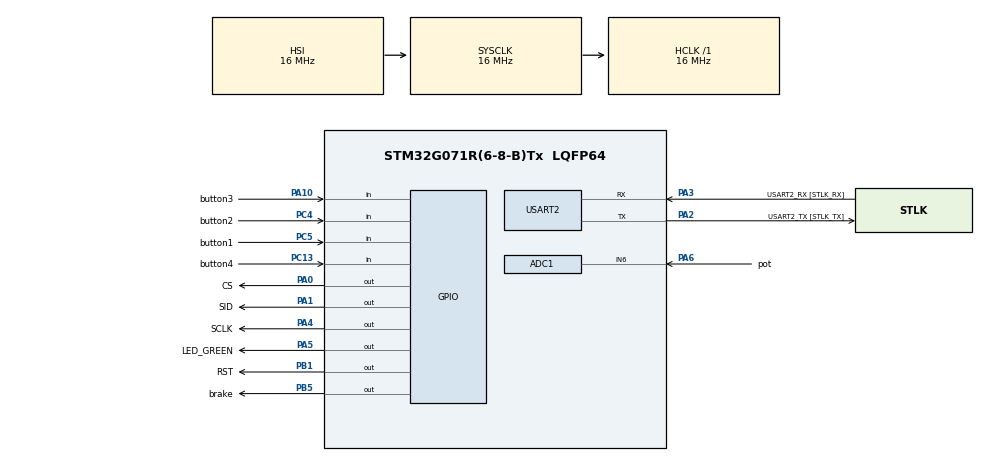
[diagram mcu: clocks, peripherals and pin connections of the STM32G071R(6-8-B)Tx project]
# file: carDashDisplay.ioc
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ADC1.Channel-1\#ChannelRegularConversion=ADC_CHANNEL_6
ADC1.NbrOfConversionFlag=1
ADC1.Rank-1\#ChannelRegularConversion=1
ADC1.SamplingTime-1\#ChannelRegularConversion=ADC_SAMPLINGTIME_COMMON_1
ADC1.SelectedChannel=ADC_CHANNEL_6
ADC1.master=1
Mcu.Family=STM32G0
Mcu.Name=STM32G071R(6-8-B)Tx
Mcu.Package=LQFP64
PA0.GPIO_Label=CS
PA0.Signal=GPIO_Output
PA1.GPIO_Label=SID
PA1.Signal=GPIO_Output
PA10.GPIO_Label=button3
PA10.GPIO_PuPd=GPIO_PULLDOWN
PA10.Signal=GPIO_Input
PA13.GPIO_Label=TMS
PA13.Mode=Serial_Wire
PA13.Signal=SYS_SWDIO
PA14-BOOT0.GPIO_Label=TCK
PA14-BOOT0.Mode=Serial_Wire
PA14-BOOT0.Signal=SYS_SWCLK
PA2.GPIO_Label=USART2_TX [STLK_TX]
PA2.GPIO_PuPd=GPIO_PULLUP
PA2.Mode=Asynchronous
PA2.Signal=USART2_TX
PA3.GPIO_Label=USART2_RX [STLK_RX]
PA3.GPIO_PuPd=GPIO_PULLUP
PA3.Mode=Asynchronous
PA3.Signal=USART2_RX
PA4.GPIO_Label=SCLK
PA4.Signal=GPIO_Output
PA5.GPIO_Label=LED_GREEN
PA5.GPIO_Speed=GPIO_SPEED_FREQ_HIGH
PA5.Signal=GPIO_Output
PA6.GPIO_Label=pot
PA6.Mode=IN6
PA6.Signal=ADC1_IN6
PB1.GPIO_Label=RST
PB1.Signal=GPIO_Output
PB5.GPIO_Label=brake
PB5.Signal=GPIO_Output
PC13.GPIO_Label=button4
PC13.GPIO_PuPd=GPIO_PULLDOWN
PC13.Signal=GPIO_Input
PC14-OSC32_IN\ (PC14).Mode=LSE-External-Oscillator
PC14-OSC32_IN\ (PC14).Signal=RCC_OSC32_IN
PC15-OSC32_OUT\ (PC15).Mode=LSE-External-Oscillator
PC15-OSC32_OUT\ (PC15).Signal=RCC_OSC32_OUT
PC4.GPIO_Label=button2
PC4.GPIO_PuPd=GPIO_PULLDOWN
PC4.Signal=GPIO_Input
PC5.GPIO_Label=button1
PC5.GPIO_PuPd=GPIO_PULLDOWN
PC5.Signal=GPIO_Input
PF0-OSC_IN\ (PF0).GPIO_Label=MCO
PF0-OSC_IN\ (PF0).Mode=HSE-External-Clock-Source
PF0-OSC_IN\ (PF0).Signal=RCC_OSC_IN
ProjectManager.HeapSize=0x200
ProjectManager.StackSize=0x400
ProjectManager.TargetToolchain=STM32CubeIDE
RCC.AHBFreq_Value=16000000
RCC.CortexFreq_Value=16000000
RCC.EXTERNAL_CLOCK_VALUE=12288000
RCC.HCLKFreq_Value=16000000
RCC.HSE_VALUE=8000000
RCC.HSI_VALUE=16000000
RCC.SYSCLKFreq_VALUE=16000000
RCC.VCOOutputFreq_Value=128000000
TIM1.Prescaler=16-1
USART2.VirtualMode-Asynchronous=VM_ASYNC
VP_SYS_VS_DBSignals.Mode=DisableDeadBatterySignals
VP_TIM1_VS_ClockSourceINT.Mode=Internal
board=NUCLEO-G071RB

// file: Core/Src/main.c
/* USER CODE BEGIN Header */
/**
  ******************************************************************************
  * @file           : main.c
  * @brief          : Main program body
  ******************************************************************************
  * @attention
  *
  * Copyright (c) 2024 STMicroelectronics.
  * All rights reserved.
  *
  * This software is licensed under terms that can be found in the LICENSE file
  * in the root directory of this software component.
  * If no LICENSE file comes with this software, it is provided AS-IS.
  *
  ******************************************************************************
  */
/* USER CODE END Header */
#include "main.h"

/* USER CODE BEGIN Includes */
#include <string.h>
#include <stdio.h>

#include "ST7920LCD.h"
#include "bitmap.h"

/* USER CODE END Includes */

ADC_HandleTypeDef hadc1;

TIM_HandleTypeDef htim1;

UART_HandleTypeDef huart2;

void SystemClock_Config(void);
static void MX_GPIO_Init(void);
static void MX_USART2_UART_Init(void);
static void MX_ADC1_Init(void);
static void MX_TIM1_Init(void);
/* USER CODE BEGIN PFP */

	/* USER DEFINED PROTOTYPES */
	void stateHandler(int state);
	void buttonListener();

	void brakeLightControl();
	void steeringControl();
	void assiControl();
	void displayControl();

	int myMap(int x, int in_min, int in_max, int out_min, int out_max);
	int getAdcFromPot();

	/* DISPLAY CONTROL PROTOTYPES */
	void initDisplay();
	void lcdStartAnimation();
	void debugSteer();

/* USER CODE END PFP */

/* USER CODE BEGIN 0 */

	/* USER DEFINED VARIABLES */
	char msg[60];		// UART Message Buffer

	int state;			// State machine context

/* USER CODE END 0 */

int main(void)
{

  /* MCU Configuration--------------------------------------------------------*/

  /* Reset of all peripherals, Initializes the Flash interface and the Systick. */
  HAL_Init();

  /* Configure the system clock */
  SystemClock_Config();

  /* Initialize all configured peripherals */
  MX_GPIO_Init();
  MX_USART2_UART_Init();
  MX_ADC1_Init();
  MX_TIM1_Init();
  /* USER CODE BEGIN 2 */

  initDisplay();
  lcdStartAnimation();

  /* USER CODE END 2 */

  /* Infinite loop */
  /* USER CODE BEGIN WHILE */
  while (1)
  {

	  buttonListener();
	  stateHandler(state);

	  sprintf(msg, "ADC: %d\r\n", getAdcFromPot());
	  HAL_UART_Transmit(&huart2, (uint8_t*) msg, strlen(msg), HAL_MAX_DELAY);

	  debugSteer();

    /* USER CODE END WHILE */

  }
}

void SystemClock_Config(void)
{
  RCC_OscInitTypeDef RCC_OscInitStruct = {0};
  RCC_ClkInitTypeDef RCC_ClkInitStruct = {0};

  /** Configure the main internal regulator output voltage
  */
  HAL_PWREx_ControlVoltageScaling(PWR_REGULATOR_VOLTAGE_SCALE1);

  /** Initializes the RCC Oscillators according to the specified parameters
  * in the RCC_OscInitTypeDef structure.
  */
  RCC_OscInitStruct.OscillatorType = RCC_OSCILLATORTYPE_HSI;
  RCC_OscInitStruct.HSIState = RCC_HSI_ON;
  RCC_OscInitStruct.HSIDiv = RCC_HSI_DIV1;
  RCC_OscInitStruct.HSICalibrationValue = RCC_HSICALIBRATION_DEFAULT;
  RCC_OscInitStruct.PLL.PLLState = RCC_PLL_NONE;
  if (HAL_RCC_OscConfig(&RCC_OscInitStruct) != HAL_OK)
  {
    Error_Handler();
  }

  /** Initializes the CPU, AHB and APB buses clocks
  */
  RCC_ClkInitStruct.ClockType = RCC_CLOCKTYPE_HCLK|RCC_CLOCKTYPE_SYSCLK
                              |RCC_CLOCKTYPE_PCLK1;
  RCC_ClkInitStruct.SYSCLKSource = RCC_SYSCLKSOURCE_HSI;
  RCC_ClkInitStruct.AHBCLKDivider = RCC_SYSCLK_DIV1;
  RCC_ClkInitStruct.APB1CLKDivider = RCC_HCLK_DIV1;

  if (HAL_RCC_ClockConfig(&RCC_ClkInitStruct, FLASH_LATENCY_0) != HAL_OK)
  {
    Error_Handler();
  }
}

static void MX_ADC1_Init(void)
{

  ADC_ChannelConfTypeDef sConfig = {0};

  /** Configure the global features of the ADC (Clock, Resolution, Data Alignment and number of conversion)
  */
  hadc1.Instance = ADC1;
  hadc1.Init.ClockPrescaler = ADC_CLOCK_SYNC_PCLK_DIV2;
  hadc1.Init.Resolution = ADC_RESOLUTION_12B;
  hadc1.Init.DataAlign = ADC_DATAALIGN_RIGHT;
  hadc1.Init.ScanConvMode = ADC_SCAN_DISABLE;
  hadc1.Init.EOCSelection = ADC_EOC_SINGLE_CONV;
  hadc1.Init.LowPowerAutoWait = DISABLE;
  hadc1.Init.LowPowerAutoPowerOff = DISABLE;
  hadc1.Init.ContinuousConvMode = DISABLE;
  hadc1.Init.NbrOfConversion = 1;
  hadc1.Init.DiscontinuousConvMode = DISABLE;
  hadc1.Init.ExternalTrigConv = ADC_SOFTWARE_START;
  hadc1.Init.ExternalTrigConvEdge = ADC_EXTERNALTRIGCONVEDGE_NONE;
  hadc1.Init.DMAContinuousRequests = DISABLE;
  hadc1.Init.Overrun = ADC_OVR_DATA_PRESERVED;
  hadc1.Init.SamplingTimeCommon1 = ADC_SAMPLETIME_1CYCLE_5;
  hadc1.Init.SamplingTimeCommon2 = ADC_SAMPLETIME_1CYCLE_5;
  hadc1.Init.OversamplingMode = DISABLE;
  hadc1.Init.TriggerFrequencyMode = ADC_TRIGGER_FREQ_HIGH;
  if (HAL_ADC_Init(&hadc1) != HAL_OK)
  {
    Error_Handler();
  }

  /** Configure Regular Channel
  */
  sConfig.Channel = ADC_CHANNEL_6;
  sConfig.Rank = ADC_REGULAR_RANK_1;
  sConfig.SamplingTime = ADC_SAMPLINGTIME_COMMON_1;
  if (HAL_ADC_ConfigChannel(&hadc1, &sConfig) != HAL_OK)
  {
    Error_Handler();
  }

}

static void MX_TIM1_Init(void)
{

  TIM_ClockConfigTypeDef sClockSourceConfig = {0};
  TIM_MasterConfigTypeDef sMasterConfig = {0};

  htim1.Instance = TIM1;
  htim1.Init.Prescaler = 16-1;
  htim1.Init.CounterMode = TIM_COUNTERMODE_UP;
  htim1.Init.Period = 65535;
  htim1.Init.ClockDivision = TIM_CLOCKDIVISION_DIV1;
  htim1.Init.RepetitionCounter = 0;
  htim1.Init.AutoReloadPreload = TIM_AUTORELOAD_PRELOAD_DISABLE;
  if (HAL_TIM_Base_Init(&htim1) != HAL_OK)
  {
    Error_Handler();
  }
  sClockSourceConfig.ClockSource = TIM_CLOCKSOURCE_INTERNAL;
  if (HAL_TIM_ConfigClockSource(&htim1, &sClockSourceConfig) != HAL_OK)
  {
    Error_Handler();
  }
  sMasterConfig.MasterOutputTrigger = TIM_TRGO_RESET;
  sMasterConfig.MasterOutputTrigger2 = TIM_TRGO2_RESET;
  sMasterConfig.MasterSlaveMode = TIM_MASTERSLAVEMODE_DISABLE;
  if (HAL_TIMEx_MasterConfigSynchronization(&htim1, &sMasterConfig) != HAL_OK)
  {
    Error_Handler();
  }

}

static void MX_USART2_UART_Init(void)
{

  huart2.Instance = USART2;
  huart2.Init.BaudRate = 115200;
  huart2.Init.WordLength = UART_WORDLENGTH_8B;
  huart2.Init.StopBits = UART_STOPBITS_1;
  huart2.Init.Parity = UART_PARITY_NONE;
  huart2.Init.Mode = UART_MODE_TX_RX;
  huart2.Init.HwFlowCtl = UART_HWCONTROL_NONE;
  huart2.Init.OverSampling = UART_OVERSAMPLING_16;
  huart2.Init.OneBitSampling = UART_ONE_BIT_SAMPLE_DISABLE;
  huart2.Init.ClockPrescaler = UART_PRESCALER_DIV1;
  huart2.AdvancedInit.AdvFeatureInit = UART_ADVFEATURE_NO_INIT;
  if (HAL_UART_Init(&huart2) != HAL_OK)
  {
    Error_Handler();
  }
  if (HAL_UARTEx_SetTxFifoThreshold(&huart2, UART_TXFIFO_THRESHOLD_1_8) != HAL_OK)
  {
    Error_Handler();
  }
  if (HAL_UARTEx_SetRxFifoThreshold(&huart2, UART_RXFIFO_THRESHOLD_1_8) != HAL_OK)
  {
    Error_Handler();
  }
  if (HAL_UARTEx_DisableFifoMode(&huart2) != HAL_OK)
  {
    Error_Handler();
  }

}

static void MX_GPIO_Init(void)
{
  GPIO_InitTypeDef GPIO_InitStruct = {0};

  /* GPIO Ports Clock Enable */
  __HAL_RCC_GPIOC_CLK_ENABLE();
  __HAL_RCC_GPIOF_CLK_ENABLE();
  __HAL_RCC_GPIOA_CLK_ENABLE();
  __HAL_RCC_GPIOB_CLK_ENABLE();

  /*Configure GPIO pin Output Level */
  HAL_GPIO_WritePin(GPIOA, CS_Pin|SID_Pin|SCLK_Pin|LED_GREEN_Pin, GPIO_PIN_RESET);

  /*Configure GPIO pin Output Level */
  HAL_GPIO_WritePin(GPIOB, RST_Pin|brake_Pin, GPIO_PIN_RESET);

  /*Configure GPIO pins : button4_Pin button2_Pin button1_Pin */
  GPIO_InitStruct.Pin = button4_Pin|button2_Pin|button1_Pin;
  GPIO_InitStruct.Mode = GPIO_MODE_INPUT;
  GPIO_InitStruct.Pull = GPIO_PULLDOWN;
  HAL_GPIO_Init(GPIOC, &GPIO_InitStruct);

  /*Configure GPIO pins : CS_Pin SID_Pin SCLK_Pin */
  GPIO_InitStruct.Pin = CS_Pin|SID_Pin|SCLK_Pin;
  GPIO_InitStruct.Mode = GPIO_MODE_OUTPUT_PP;
  GPIO_InitStruct.Pull = GPIO_NOPULL;
  GPIO_InitStruct.Speed = GPIO_SPEED_FREQ_LOW;
  HAL_GPIO_Init(GPIOA, &GPIO_InitStruct);

  /*Configure GPIO pin : LED_GREEN_Pin */
  GPIO_InitStruct.Pin = LED_GREEN_Pin;
  GPIO_InitStruct.Mode = GPIO_MODE_OUTPUT_PP;
  GPIO_InitStruct.Pull = GPIO_NOPULL;
  GPIO_InitStruct.Speed = GPIO_SPEED_FREQ_HIGH;
  HAL_GPIO_Init(LED_GREEN_GPIO_Port, &GPIO_InitStruct);

  /*Configure GPIO pins : RST_Pin brake_Pin */
  GPIO_InitStruct.Pin = RST_Pin|brake_Pin;
  GPIO_InitStruct.Mode = GPIO_MODE_OUTPUT_PP;
  GPIO_InitStruct.Pull = GPIO_NOPULL;
  GPIO_InitStruct.Speed = GPIO_SPEED_FREQ_LOW;
  HAL_GPIO_Init(GPIOB, &GPIO_InitStruct);

  /*Configure GPIO pin : button3_Pin */
  GPIO_InitStruct.Pin = button3_Pin;
  GPIO_InitStruct.Mode = GPIO_MODE_INPUT;
  GPIO_InitStruct.Pull = GPIO_PULLDOWN;
  HAL_GPIO_Init(button3_GPIO_Port, &GPIO_InitStruct);

}

/* USER CODE BEGIN 4 */

	/* USER DEFINED FUNCTIONS */

	/* State Control Functions */

	void stateHandler(int state){

		switch(state){

			// State 1: Manual Drive
			case 1:
				// Debug message
				sprintf(msg, "State 1: Manual Drive\n\r");
				HAL_UART_Transmit(&huart2, (uint8_t*) msg, strlen(msg), HAL_MAX_DELAY);
				stateOne();
				break;

			// State 2: Autonomous Mode
			case 2:
				// Debug message
				sprintf(msg, "State 2: Autonomous Mode\n\r");
				HAL_UART_Transmit(&huart2, (uint8_t*) msg, strlen(msg), HAL_MAX_DELAY);
				stateTwo();
				break;

			// State 3: Inspection
			case 3:
				// Debug message
				sprintf(msg, "State 3: Inspection\n\r");
				HAL_UART_Transmit(&huart2, (uint8_t*) msg, strlen(msg), HAL_MAX_DELAY);
				stateThree();
				break;

			// State 4: Autocross
			case 4:
				// Debug message
				sprintf(msg, "State 4: Autocross\n\r");
				HAL_UART_Transmit(&huart2, (uint8_t*) msg, strlen(msg), HAL_MAX_DELAY);
				stateFour();
				break;
		}
	}

	void buttonListener(){

		// Button 1 is pushed
		if (HAL_GPIO_ReadPin(button1_GPIO_Port, button1_Pin)){
			state = 1;
		}

		// Button 2 is pushed
		else if (HAL_GPIO_ReadPin(button2_GPIO_Port, button2_Pin)){
			state = 2;
		}

		// Button 3 is pushed
		else if (HAL_GPIO_ReadPin(button3_GPIO_Port, button3_Pin)){
			state = 3;
		}

		// Button 4 is pushed
		else if (!HAL_GPIO_ReadPin(button4_GPIO_Port, button4_Pin)){
			state = 4;
		}
	}

	/* Control Function Stubs */

	void brakeLightControl(){
		// Debug message
		sprintf(msg, "Brake Light command.\n\r");
		HAL_UART_Transmit(&huart2, (uint8_t*) msg, strlen(msg), HAL_MAX_DELAY);
	}

	void steeringControl(){
		// Debug message
		sprintf(msg, "Steering command.\n\r");
		HAL_UART_Transmit(&huart2, (uint8_t*) msg, strlen(msg), HAL_MAX_DELAY);
	}

	void assiControl(){
		// Debug message
		sprintf(msg, "ASSI command.\n\r");
		HAL_UART_Transmit(&huart2, (uint8_t*) msg, strlen(msg), HAL_MAX_DELAY);
	}

	void displayControl(){
		// Debug message
		sprintf(msg, "Display LCD command.\n\r");
		HAL_UART_Transmit(&huart2, (uint8_t*) msg, strlen(msg), HAL_MAX_DELAY);
	}

	/* LCD CONTROL FUNCTIONS */

	void initDisplay(){
		delay_init();
		ST7920_Init();
	}

	void lcdStartAnimation(){
		ST7920_GraphicMode(1);
		ST7920_DrawBitmap(BigLogo);

		HAL_Delay(2000);
		ST7920_Clear();

		ST7920_GraphicMode(1);
		ST7920_DrawBitmap(utsText);

		HAL_Delay(2000);
		ST7920_Clear();

		ST7920_GraphicMode(1);
		ST7920_DrawBitmap(techFest);

		HAL_Delay(2000);
		ST7920_Clear();

		ST7920_GraphicMode(1);
		ST7920_DrawBitmap(car3);

		HAL_Delay(2000);
		ST7920_Clear();
	}

	/* ADC FUNCTIONS */

	int myMap(int x, int in_min, int in_max, int out_min, int out_max){
		return (x - in_min) * (out_max - out_min) / (in_max - in_min) + out_min;
	}

	int getAdcFromPot(){
		HAL_ADC_Start_IT(&hadc1);
		uint16_t potValue;
		HAL_ADC_PollForConversion(&hadc1, 5);
		potValue = HAL_ADC_GetValue(&hadc1);
		return potValue;
	}

	/* STEERING ANIMATION FUNCTION */
	void debugSteer(){
		int steerDebug = myMap(getAdcFromPot(), 4095, 500, 1, 69);

		sprintf(msg, "Steer: %d.\n\r", steerDebug);
		HAL_UART_Transmit(&huart2, (uint8_t*) msg, strlen(msg), HAL_MAX_DELAY);

		drawSteerAngle(steerDebug);

	}

/* USER CODE END 4 */

void Error_Handler(void)
{
  __disable_irq();
  while (1)
  {
  }
}
